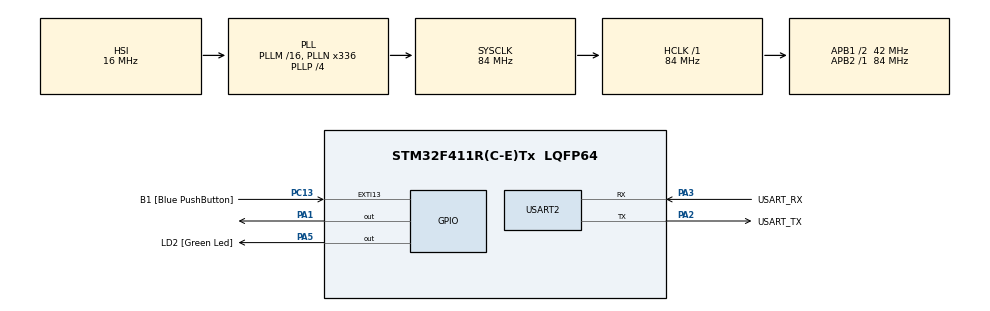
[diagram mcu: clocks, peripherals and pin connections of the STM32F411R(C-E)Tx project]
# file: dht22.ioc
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Mcu.Family=STM32F4
Mcu.Name=STM32F411R(C-E)Tx
Mcu.Package=LQFP64
NVIC.PriorityGroup=NVIC_PRIORITYGROUP_0
PA1.Signal=GPIO_Output
PA13.GPIO_Label=TMS
PA13.Mode=Serial_Wire
PA13.Signal=SYS_JTMS-SWDIO
PA14.GPIO_Label=TCK
PA14.Mode=Serial_Wire
PA14.Signal=SYS_JTCK-SWCLK
PA2.GPIO_Label=USART_TX
PA2.Mode=Asynchronous
PA2.Signal=USART2_TX
PA3.GPIO_Label=USART_RX
PA3.Mode=Asynchronous
PA3.Signal=USART2_RX
PA5.GPIO_Label=LD2 [Green Led]
PA5.Signal=GPIO_Output
PB3.GPIO_Label=SWO
PB3.Signal=SYS_JTDO-SWO
PC13-ANTI_TAMP.GPIO_Label=B1 [Blue PushButton]
PC13-ANTI_TAMP.GPIO_ModeDefaultEXTI=GPIO_MODE_IT_FALLING
PC13-ANTI_TAMP.Signal=GPXTI13
PC14-OSC32_IN.Mode=LSE-External-Oscillator
PC14-OSC32_IN.Signal=RCC_OSC32_IN
PC15-OSC32_OUT.Mode=LSE-External-Oscillator
PC15-OSC32_OUT.Signal=RCC_OSC32_OUT
PH0\ -\ OSC_IN.Mode=HSE-External-Clock-Source
PH0\ -\ OSC_IN.Signal=RCC_OSC_IN
PH1\ -\ OSC_OUT.Mode=HSE-External-Clock-Source
PH1\ -\ OSC_OUT.Signal=RCC_OSC_OUT
ProjectManager.HeapSize=0x200
ProjectManager.StackSize=0x400
ProjectManager.TargetToolchain=STM32CubeIDE
RCC.48MHZClocksFreq_Value=84000000
RCC.AHBFreq_Value=84000000
RCC.APB1CLKDivider=RCC_HCLK_DIV2
RCC.APB1Freq_Value=42000000
RCC.APB1TimFreq_Value=84000000
RCC.APB2Freq_Value=84000000
RCC.APB2TimFreq_Value=84000000
RCC.CortexFreq_Value=84000000
RCC.FLatency-AdvancedSettings=FLASH_LATENCY_2
RCC.HCLKFreq_Value=84000000
RCC.HSE_VALUE=8000000
RCC.HSI_VALUE=16000000
RCC.PLLN=336
RCC.PLLP=RCC_PLLP_DIV4
RCC.SYSCLKFreq_VALUE=84000000
RCC.SYSCLKSource=RCC_SYSCLKSOURCE_PLLCLK
RCC.VCOOutputFreq_Value=336000000
TIM1.Period=0xfff-1
TIM1.Prescaler=84-1
USART2.VirtualMode=VM_ASYNC
VP_TIM1_VS_ClockSourceINT.Mode=Internal
board=NUCLEO-F411RE

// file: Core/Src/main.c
/* USER CODE BEGIN Header */
/**
  ******************************************************************************
  * @file           : main.c
  * @brief          : Main program body
  ******************************************************************************
  * @attention
  *
  * <h2><center>&copy; Copyright (c) 2022 STMicroelectronics.
  * All rights reserved.</center></h2>
  *
  * This software component is licensed by ST under BSD 3-Clause license,
  * the "License"; You may not use this file except in compliance with the
  * License. You may obtain a copy of the License at:
  *                        opensource.org/licenses/BSD-3-Clause
  *
  ******************************************************************************
  */
/* USER CODE END Header */
#include "main.h"

TIM_HandleTypeDef htim1;

UART_HandleTypeDef huart2;

void SystemClock_Config(void);
static void MX_GPIO_Init(void);
static void MX_USART2_UART_Init(void);
static void MX_TIM1_Init(void);

/* USER CODE BEGIN 0 */
uint8_t h_byte1, h_byte2, t_byte1, t_byte2;
uint16_t sum,h,t;
float temp;
float humid;
uint8_t pres = 0;
#define DHT22_PORT GPIOA
#define DHT22_PIN GPIO_PIN_1

void delay(uint16_t time){
	__HAL_TIM_SET_COUNTER(&htim1,0);
	while(__HAL_TIM_GET_COUNTER(&htim1) < time);
}

void Set_Pin_Output(GPIO_TypeDef *GPIOx, uint16_t GPIO_Pin){
	GPIO_InitTypeDef GPIO_InitStruct = {0};
	GPIO_InitStruct.Pin = GPIO_Pin;
	GPIO_InitStruct.Mode = GPIO_MODE_OUTPUT_PP;
	GPIO_InitStruct.Speed = GPIO_SPEED_FREQ_LOW;
	HAL_GPIO_Init(GPIOx, &GPIO_InitStruct);
}

void Set_Pin_Input (GPIO_TypeDef *GPIOx, uint16_t GPIO_Pin){
	GPIO_InitTypeDef GPIO_InitStruct = {0};
	GPIO_InitStruct.Pin = GPIO_Pin;
	GPIO_InitStruct.Mode = GPIO_MODE_INPUT;
	GPIO_InitStruct.Pull = GPIO_PULLUP;
	HAL_GPIO_Init(GPIOx, &GPIO_InitStruct);
}

void DHT22_Start (void)
{
	Set_Pin_Output(DHT22_PORT, DHT22_PIN); // set the pin as output
	HAL_GPIO_WritePin (DHT22_PORT, DHT22_PIN, 1);
	HAL_Delay(10);
	HAL_GPIO_WritePin (DHT22_PORT, DHT22_PIN, 0);   // pull the pin low
	delay(1500);   // wait for > 1ms

	HAL_GPIO_WritePin (DHT22_PORT, DHT22_PIN, 1);   // pull the pin high
	delay(20);   // wait for 30us

	Set_Pin_Input(DHT22_PORT, DHT22_PIN);   // set as input
}

uint8_t DHT22_Check_Response (void)
{
	Set_Pin_Input(DHT22_PORT, DHT22_PIN);   // set as input
	uint8_t Response = 0;
	delay(40);  // wait for 40us
	if (!(HAL_GPIO_ReadPin (DHT22_PORT, DHT22_PIN))) // if the pin is low
	{
		delay(80);   // wait for 80us

		if ((HAL_GPIO_ReadPin (DHT22_PORT, DHT22_PIN))) Response = 1;  // if the pin is high, response is ok
		else Response = -1;
	}

	while ((HAL_GPIO_ReadPin (DHT22_PORT, DHT22_PIN)));   // wait for the pin to go low
	return Response;
}

uint8_t DHT22_Read (void)
{
	uint8_t i,j;
	for (j=0;j<8;j++)
	{
		delay(10);
		while (!(HAL_GPIO_ReadPin (DHT22_PORT, DHT22_PIN)));   // wait for the pin to go high
		delay(30);   // wait for 40 us

		if (!(HAL_GPIO_ReadPin (DHT22_PORT, DHT22_PIN)))   // if the pin is low
		{
			i&= ~(1<<(7-j));   // write 0
		}
		else i|= (1<<(7-j));  // if the pin is high, write 1
		while (HAL_GPIO_ReadPin(DHT22_PORT, DHT22_PIN));  // wait for the pin to go low
	}

	return i;
}
/* USER CODE END 0 */

int main(void)
{

  /* MCU Configuration--------------------------------------------------------*/

  /* Reset of all peripherals, Initializes the Flash interface and the Systick. */
  HAL_Init();

  /* Configure the system clock */
  SystemClock_Config();

  /* Initialize all configured peripherals */
  MX_GPIO_Init();
  MX_USART2_UART_Init();
  MX_TIM1_Init();

  /* Infinite loop */
  /* USER CODE BEGIN WHILE */
  HAL_TIM_Base_Start(&htim1);
  char buffer[100]; char p='%';
  while (1)
  {
	  DHT22_Start(); // ok
	  pres = DHT22_Check_Response();
	  h_byte1 = DHT22_Read(); // problem infiite loop
	  h_byte2 = DHT22_Read();
	  t_byte1 = DHT22_Read();
	  t_byte2 = DHT22_Read();
	  sum = DHT22_Read();

	  t = (t_byte1<<8)|t_byte2;
	  h = (h_byte1<<8)|h_byte2;
	  temp = (float) (t/10.0);
	  humid = (float)(h/10.0);
	  sprintf(buffer, "temp : %.1f humid : %.1f%c \r\n",temp,humid,p);
	  HAL_UART_Transmit(&huart2, &buffer, strlen(buffer), HAL_MAX_DELAY);
	  HAL_Delay(10000);
    /* USER CODE END WHILE */

  }
}

void SystemClock_Config(void)
{
  RCC_OscInitTypeDef RCC_OscInitStruct = {0};
  RCC_ClkInitTypeDef RCC_ClkInitStruct = {0};

  /** Configure the main internal regulator output voltage
  */
  __HAL_RCC_PWR_CLK_ENABLE();
  __HAL_PWR_VOLTAGESCALING_CONFIG(PWR_REGULATOR_VOLTAGE_SCALE1);
  /** Initializes the RCC Oscillators according to the specified parameters
  * in the RCC_OscInitTypeDef structure.
  */
  RCC_OscInitStruct.OscillatorType = RCC_OSCILLATORTYPE_HSI;
  RCC_OscInitStruct.HSIState = RCC_HSI_ON;
  RCC_OscInitStruct.HSICalibrationValue = RCC_HSICALIBRATION_DEFAULT;
  RCC_OscInitStruct.PLL.PLLState = RCC_PLL_ON;
  RCC_OscInitStruct.PLL.PLLSource = RCC_PLLSOURCE_HSI;
  RCC_OscInitStruct.PLL.PLLM = 16;
  RCC_OscInitStruct.PLL.PLLN = 336;
  RCC_OscInitStruct.PLL.PLLP = RCC_PLLP_DIV4;
  RCC_OscInitStruct.PLL.PLLQ = 4;
  if (HAL_RCC_OscConfig(&RCC_OscInitStruct) != HAL_OK)
  {
    Error_Handler();
  }
  /** Initializes the CPU, AHB and APB buses clocks
  */
  RCC_ClkInitStruct.ClockType = RCC_CLOCKTYPE_HCLK|RCC_CLOCKTYPE_SYSCLK
                              |RCC_CLOCKTYPE_PCLK1|RCC_CLOCKTYPE_PCLK2;
  RCC_ClkInitStruct.SYSCLKSource = RCC_SYSCLKSOURCE_PLLCLK;
  RCC_ClkInitStruct.AHBCLKDivider = RCC_SYSCLK_DIV1;
  RCC_ClkInitStruct.APB1CLKDivider = RCC_HCLK_DIV2;
  RCC_ClkInitStruct.APB2CLKDivider = RCC_HCLK_DIV1;

  if (HAL_RCC_ClockConfig(&RCC_ClkInitStruct, FLASH_LATENCY_2) != HAL_OK)
  {
    Error_Handler();
  }
}

static void MX_TIM1_Init(void)
{

  TIM_ClockConfigTypeDef sClockSourceConfig = {0};
  TIM_MasterConfigTypeDef sMasterConfig = {0};

  htim1.Instance = TIM1;
  htim1.Init.Prescaler = 84-1;
  htim1.Init.CounterMode = TIM_COUNTERMODE_UP;
  htim1.Init.Period = 0xfff-1;
  htim1.Init.ClockDivision = TIM_CLOCKDIVISION_DIV1;
  htim1.Init.RepetitionCounter = 0;
  htim1.Init.AutoReloadPreload = TIM_AUTORELOAD_PRELOAD_DISABLE;
  if (HAL_TIM_Base_Init(&htim1) != HAL_OK)
  {
    Error_Handler();
  }
  sClockSourceConfig.ClockSource = TIM_CLOCKSOURCE_INTERNAL;
  if (HAL_TIM_ConfigClockSource(&htim1, &sClockSourceConfig) != HAL_OK)
  {
    Error_Handler();
  }
  sMasterConfig.MasterOutputTrigger = TIM_TRGO_RESET;
  sMasterConfig.MasterSlaveMode = TIM_MASTERSLAVEMODE_DISABLE;
  if (HAL_TIMEx_MasterConfigSynchronization(&htim1, &sMasterConfig) != HAL_OK)
  {
    Error_Handler();
  }

}

static void MX_USART2_UART_Init(void)
{

  huart2.Instance = USART2;
  huart2.Init.BaudRate = 115200;
  huart2.Init.WordLength = UART_WORDLENGTH_8B;
  huart2.Init.StopBits = UART_STOPBITS_1;
  huart2.Init.Parity = UART_PARITY_NONE;
  huart2.Init.Mode = UART_MODE_TX_RX;
  huart2.Init.HwFlowCtl = UART_HWCONTROL_NONE;
  huart2.Init.OverSampling = UART_OVERSAMPLING_16;
  if (HAL_UART_Init(&huart2) != HAL_OK)
  {
    Error_Handler();
  }

}

static void MX_GPIO_Init(void)
{
  GPIO_InitTypeDef GPIO_InitStruct = {0};

  /* GPIO Ports Clock Enable */
  __HAL_RCC_GPIOC_CLK_ENABLE();
  __HAL_RCC_GPIOH_CLK_ENABLE();
  __HAL_RCC_GPIOA_CLK_ENABLE();
  __HAL_RCC_GPIOB_CLK_ENABLE();

  /*Configure GPIO pin Output Level */
  HAL_GPIO_WritePin(GPIOA, GPIO_PIN_1|LD2_Pin, GPIO_PIN_RESET);

  /*Configure GPIO pin : B1_Pin */
  GPIO_InitStruct.Pin = B1_Pin;
  GPIO_InitStruct.Mode = GPIO_MODE_IT_FALLING;
  GPIO_InitStruct.Pull = GPIO_NOPULL;
  HAL_GPIO_Init(B1_GPIO_Port, &GPIO_InitStruct);

  /*Configure GPIO pins : PA1 LD2_Pin */
  GPIO_InitStruct.Pin = GPIO_PIN_1|LD2_Pin;
  GPIO_InitStruct.Mode = GPIO_MODE_OUTPUT_PP;
  GPIO_InitStruct.Pull = GPIO_NOPULL;
  GPIO_InitStruct.Speed = GPIO_SPEED_FREQ_LOW;
  HAL_GPIO_Init(GPIOA, &GPIO_InitStruct);

}

void Error_Handler(void)
{
  __disable_irq();
  while (1)
  {
  }
}

/************************ (C) COPYRIGHT STMicroelectronics *****END OF FILE****/
